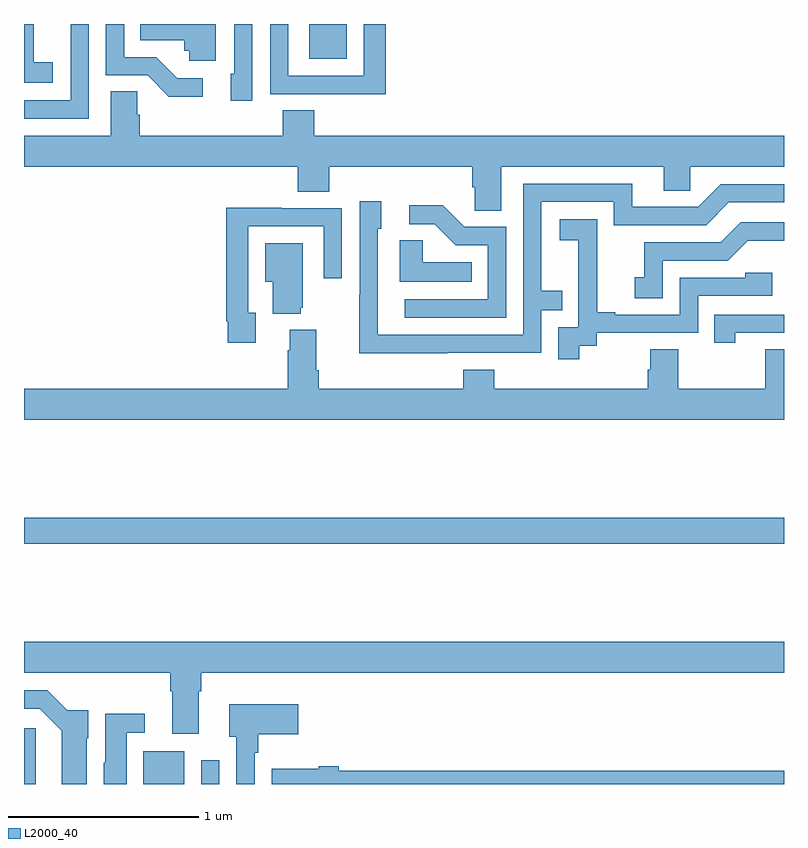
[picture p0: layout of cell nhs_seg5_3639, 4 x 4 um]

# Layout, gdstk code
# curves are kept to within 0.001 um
import gdstk
lib = gdstk.Library(unit=1e-6, precision=1e-09)
def R(c, l, rs):  # rectangles x0, y0, x1, y1
    for r in rs: c.add(gdstk.rectangle(r[:2], r[2:], *l))
def P(c, l, *ps):  # polygons
    for p in ps: c.add(gdstk.Polygon(p, *l))
L2000_40 = (2000, 40)

nhs_seg5_3639 = lib.new_cell('nhs_seg5_3639')
R(nhs_seg5_3639, L2000_40, [(325,898.799,325.063,899.092), (325.628,898.799,325.843,898.972), (325.932,898.799,326.028,898.924), (325,900.064,329,900.2), (326.501,902.615,326.698,902.799)])
P(nhs_seg5_3639, L2000_40, [(326.008,902.799),(325.612,902.799),(325.612,902.714),(325.843,902.714),(325.843,902.658),(325.869,902.658),(325.869,902.606),(326.008,902.606)],
  [(325.15,902.599),(325.052,902.599),(325.052,902.799),(325,902.799),(325,902.489),(325.15,902.489)],
  [(326.903,902.799),(326.787,902.799),(326.787,902.526),(326.391,902.526),(326.391,902.799),(326.295,902.799),(326.295,902.43),(326.611,902.43),(326.611,902.429),(326.903,902.429)],
  [(326.202,902.799),(326.106,902.799),(326.106,902.538),(326.087,902.538),(326.087,902.394),(326.202,902.394)],
  [(325.942,902.514),(325.807,902.514),(325.696,902.625),(325.527,902.625),(325.527,902.799),(325.431,902.799),(325.431,902.529),(325.65,902.529),(325.763,902.417),(325.942,902.417)],
  [(325.341,902.799),(325.245,902.799),(325.245,902.397),(325,902.397),(325,902.301),(325.341,902.301)],
  [(327.511,902.048),(328.367,902.048),(328.367,901.921),(328.506,901.921),(328.506,902.048),(329,902.048),(329,902.212),(326.528,902.212),(326.528,902.345),(326.363,902.345),(326.363,902.212),(325.61,902.212),(325.61,902.321),(325.596,902.321),(325.596,902.444),(325.457,902.444),(325.457,902.212),(325,902.212),(325,902.048),(326.441,902.048),(326.441,901.915),(326.606,901.915),(326.606,902.048),(327.359,902.048),(327.359,901.939),(327.372,901.939),(327.372,901.816),(327.511,901.816)],
  [(327.227,901.068),(327.723,901.068),(327.723,901.293),(327.833,901.293),(327.833,901.394),(327.723,901.394),(327.723,901.863),(328.104,901.863),(328.104,901.74),(328.59,901.74),(328.71,901.86),(329,901.86),(329,901.956),(328.668,901.956),(328.548,901.836),(328.201,901.836),(328.201,901.959),(327.627,901.959),(327.627,901.164),(326.862,901.164),(326.862,901.722),(326.881,901.722),(326.881,901.867),(326.766,901.867),(326.766,901.373),(326.764,901.373),(326.764,901.067)],
  [(327.537,901.731),(327.318,901.731),(327.205,901.844),(327.027,901.844),(327.027,901.746),(327.161,901.746),(327.272,901.635),(327.441,901.635),(327.441,901.35),(327.003,901.35),(327.003,901.254),(327.537,901.254)],
  [(326.221,901.278),(326.181,901.278),(326.181,901.734),(326.577,901.734),(326.577,901.461),(326.673,901.461),(326.673,901.83),(326.357,901.83),(326.357,901.832),(326.065,901.832),(326.065,901.234),(326.073,901.234),(326.073,901.122),(326.221,901.122)],
  [(327.922,901.105),(328.014,901.105),(328.014,901.173),(328.548,901.173),(328.548,901.368),(328.937,901.368),(328.937,901.491),(328.797,901.491),(328.797,901.464),(328.452,901.464),(328.452,901.269),(328.111,901.269),(328.111,901.282),(328.016,901.282),(328.016,901.565),(328.017,901.565),(328.017,901.771),(327.819,901.771),(327.819,901.661),(327.917,901.661),(327.917,901.433),(327.918,901.433),(327.918,901.203),(327.813,901.203),(327.813,901.035),(327.922,901.035)],
  [(328.362,901.554),(328.704,901.554),(328.808,901.658),(329,901.658),(329,901.755),(328.772,901.755),(328.667,901.65),(328.264,901.65),(328.264,901.465),(328.215,901.465),(328.215,901.356),(328.362,901.356)],
  [(327.356,901.546),(327.099,901.546),(327.099,901.661),(326.978,901.661),(326.978,901.442),(327.356,901.442)],
  [(326.456,901.305),(326.467,901.305),(326.467,901.645),(326.27,901.645),(326.27,901.442),(326.309,901.442),(326.309,901.274),(326.456,901.274)],
  [(328.744,901.173),(329,901.173),(329,901.269),(328.633,901.269),(328.633,901.122),(328.744,901.122)],
  [(329,901.088),(328.9,901.088),(328.9,900.88),(328.443,900.88),(328.443,901.088),(328.295,901.088),(328.295,900.978),(328.283,900.978),(328.283,900.88),(327.476,900.88),(327.476,900.979),(327.311,900.979),(327.311,900.88),(326.552,900.88),(326.552,900.976),(326.539,900.976),(326.539,901.189),(326.399,901.189),(326.399,901.082),(326.387,901.082),(326.387,900.88),(325,900.88),(325,900.716),(329,900.716)],
  [(325.921,899.288),(325.934,899.288),(325.934,899.384),(329,899.384),(329,899.548),(325,899.548),(325,899.384),(325.769,899.384),(325.769,899.288),(325.781,899.288),(325.781,899.064),(325.921,899.064)],
  [(325.33,899.04),(325.339,899.04),(325.339,899.187),(325.228,899.187),(325.123,899.292),(325,899.292),(325,899.196),(325.083,899.196),(325.199,899.08),(325.199,898.799),(325.33,898.799)],
  [(326.214,898.964),(326.234,898.964),(326.234,899.06),(326.443,899.06),(326.443,899.218),(326.081,899.218),(326.081,899.048),(326.118,899.048),(326.118,898.799),(326.214,898.799)],
  [(325.54,899.07),(325.636,899.07),(325.636,899.168),(325.427,899.168),(325.427,898.911),(325.421,898.911),(325.421,898.799),(325.54,898.799)],
  [(329,898.868),(326.656,898.868),(326.656,898.892),(326.552,898.892),(326.552,898.879),(326.304,898.879),(326.304,898.799),(329,898.799)])

lib.write_gds('nhs_seg5_3639.gds')
